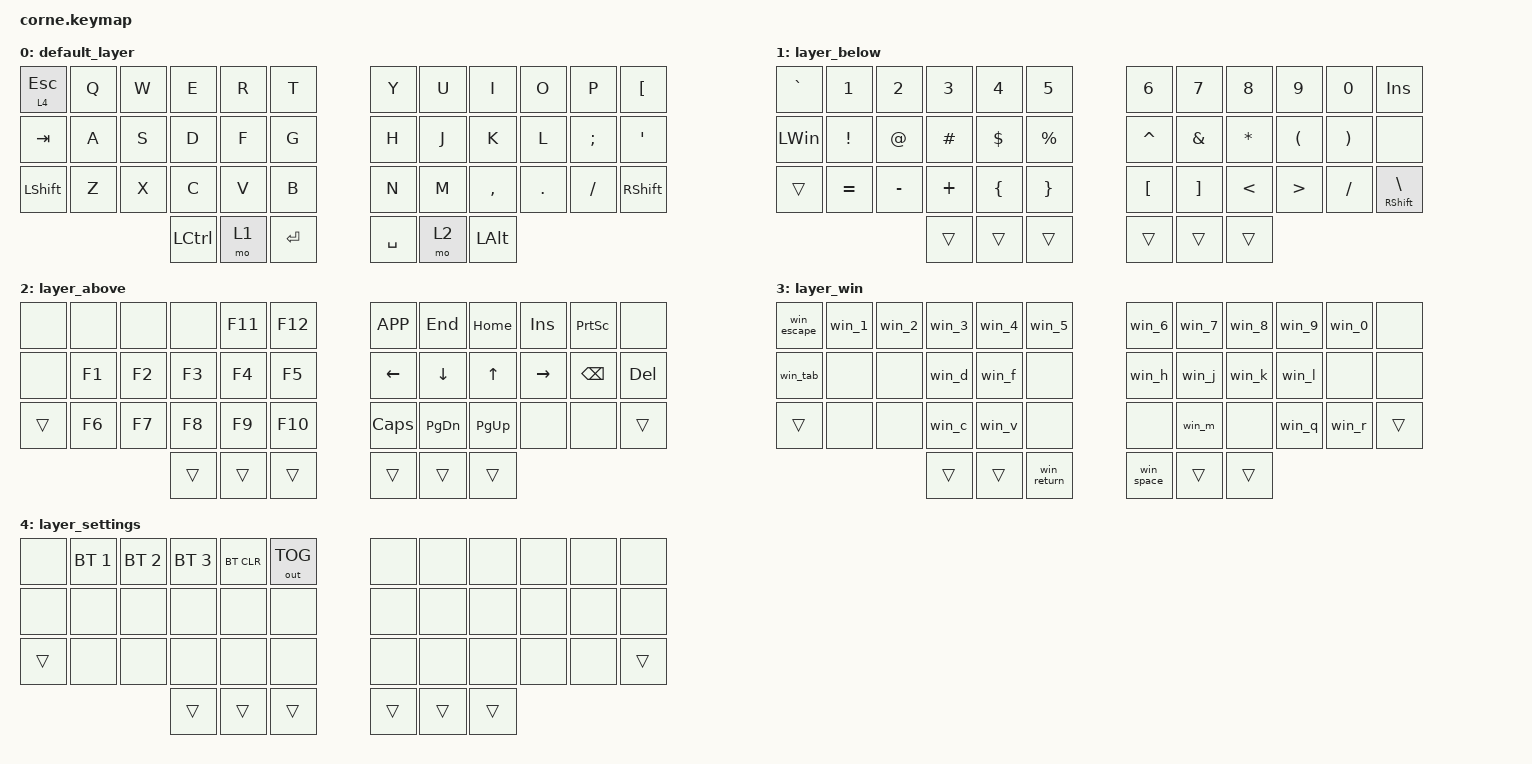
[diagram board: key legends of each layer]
/*
 * Copyright (c) 2020 The ZMK Contributors
 *
 * SPDX-License-Identifier: MIT
 */

#include <behaviors.dtsi>
#include <dt-bindings/zmk/bt.h>
#include <dt-bindings/zmk/keys.h>
#include <dt-bindings/zmk/outputs.h>

/ {
    macros {
        win_1: win_1 {
            label = "win_1";
            compatible = "zmk,behavior-macro";
            #binding-cells = <0>;
            wait-ms = <40>;
            tap-ms = <40>;
            bindings =
                <&macro_press>,
                <&kp LEFT_WIN>,
                <&macro_tap>,
                <&kp N1>,
                <&macro_release>,
                <&kp LEFT_WIN>;
        };

        win_2: win_2 {
            label = "win_2";
            compatible = "zmk,behavior-macro";
            #binding-cells = <0>;
            wait-ms = <40>;
            tap-ms = <40>;
            bindings =
                <&macro_press>,
                <&kp LEFT_WIN>,
                <&macro_tap>,
                <&kp N2>,
                <&macro_release>,
                <&kp LEFT_WIN>;
        };

        win_3: win_3 {
            label = "win_3";
            compatible = "zmk,behavior-macro";
            #binding-cells = <0>;
            wait-ms = <40>;
            tap-ms = <40>;
            bindings =
                <&macro_press>,
                <&kp LEFT_WIN>,
                <&macro_tap>,
                <&kp N3>,
                <&macro_release>,
                <&kp LEFT_WIN>;
        };

        win_4: win_4 {
            label = "win_4";
            compatible = "zmk,behavior-macro";
            #binding-cells = <0>;
            wait-ms = <40>;
            tap-ms = <40>;
            bindings =
                <&macro_press>,
                <&kp LEFT_WIN>,
                <&macro_tap>,
                <&kp N4>,
                <&macro_release>,
                <&kp LEFT_WIN>;
        };

        win_5: win_5 {
            label = "win_5";
            compatible = "zmk,behavior-macro";
            #binding-cells = <0>;
            wait-ms = <40>;
            tap-ms = <40>;
            bindings =
                <&macro_press>,
                <&kp LEFT_WIN>,
                <&macro_tap>,
                <&kp N5>,
                <&macro_release>,
                <&kp LEFT_WIN>;
        };

        win_6: win_6 {
            label = "win_6";
            compatible = "zmk,behavior-macro";
            #binding-cells = <0>;
            wait-ms = <40>;
            tap-ms = <40>;
            bindings =
                <&macro_press>,
                <&kp LEFT_WIN>,
                <&macro_tap>,
                <&kp N6>,
                <&macro_release>,
                <&kp LEFT_WIN>;
        };

        win_7: win_7 {
            label = "win_7";
            compatible = "zmk,behavior-macro";
            #binding-cells = <0>;
            wait-ms = <40>;
            tap-ms = <40>;
            bindings =
                <&macro_press>,
                <&kp LEFT_WIN>,
                <&macro_tap>,
                <&kp N7>,
                <&macro_release>,
                <&kp LEFT_WIN>;
        };

        win_8: win_8 {
            label = "win_8";
            compatible = "zmk,behavior-macro";
            #binding-cells = <0>;
            wait-ms = <40>;
            tap-ms = <40>;
            bindings =
                <&macro_press>,
                <&kp LEFT_WIN>,
                <&macro_tap>,
                <&kp N8>,
                <&macro_release>,
                <&kp LEFT_WIN>;
        };

        win_9: win_9 {
            label = "win_9";
            compatible = "zmk,behavior-macro";
            #binding-cells = <0>;
            wait-ms = <40>;
            tap-ms = <40>;
            bindings =
                <&macro_press>,
                <&kp LEFT_WIN>,
                <&macro_tap>,
                <&kp N9>,
                <&macro_release>,
                <&kp LEFT_WIN>;
        };

        win_0: win_0 {
            label = "win_0";
            compatible = "zmk,behavior-macro";
            #binding-cells = <0>;
            wait-ms = <40>;
            tap-ms = <40>;
            bindings =
                <&macro_press>,
                <&kp LEFT_WIN>,
                <&macro_tap>,
                <&kp N0>,
                <&macro_release>,
                <&kp LEFT_WIN>;
        };

        // i3 window management macros

        win_h: win_h {
            label = "win_h";
            compatible = "zmk,behavior-macro";
            #binding-cells = <0>;
            wait-ms = <40>;
            tap-ms = <40>;
            bindings =
                <&macro_press>,
                <&kp LEFT_WIN>,
                <&macro_tap>,
                <&kp H>,
                <&macro_release>,
                <&kp LEFT_WIN>;
        };

        win_j: win_j {
            label = "win_j";
            compatible = "zmk,behavior-macro";
            #binding-cells = <0>;
            wait-ms = <40>;
            tap-ms = <40>;
            bindings =
                <&macro_press>,
                <&kp LEFT_WIN>,
                <&macro_tap>,
                <&kp J>,
                <&macro_release>,
                <&kp LEFT_WIN>;
        };

        win_k: win_k {
            label = "win_k";
            compatible = "zmk,behavior-macro";
            #binding-cells = <0>;
            wait-ms = <40>;
            tap-ms = <40>;
            bindings =
                <&macro_press>,
                <&kp LEFT_WIN>,
                <&macro_tap>,
                <&kp K>,
                <&macro_release>,
                <&kp LEFT_WIN>;
        };

        win_l: win_l {
            label = "win_l";
            compatible = "zmk,behavior-macro";
            #binding-cells = <0>;
            wait-ms = <40>;
            tap-ms = <40>;
            bindings =
                <&macro_press>,
                <&kp LEFT_WIN>,
                <&macro_tap>,
                <&kp L>,
                <&macro_release>,
                <&kp LEFT_WIN>;
        };

        win_shift_h: win_shift_h {
            label = "win_shift_h";
            compatible = "zmk,behavior-macro";
            #binding-cells = <0>;
            wait-ms = <40>;
            tap-ms = <40>;
            bindings =
                <&macro_press>,
                <&kp LEFT_WIN &kp LSHFT>,
                <&macro_tap>,
                <&kp H>,
                <&macro_release>,
                <&kp LSHFT &kp LEFT_WIN>;
        };

        win_shift_j: win_shift_j {
            label = "win_shift_j";
            compatible = "zmk,behavior-macro";
            #binding-cells = <0>;
            wait-ms = <40>;
            tap-ms = <40>;
            bindings =
                <&macro_press>,
                <&kp LEFT_WIN &kp LSHFT>,
                <&macro_tap>,
                <&kp J>,
                <&macro_release>,
                <&kp LSHFT &kp LEFT_WIN>;
        };

        win_shift_k: win_shift_k {
            label = "win_shift_k";
            compatible = "zmk,behavior-macro";
            #binding-cells = <0>;
            wait-ms = <40>;
            tap-ms = <40>;
            bindings =
                <&macro_press>,
                <&kp LEFT_WIN &kp LSHFT>,
                <&macro_tap>,
                <&kp K>,
                <&macro_release>,
                <&kp LSHFT &kp LEFT_WIN>;
        };

        win_shift_l: win_shift_l {
            label = "win_shift_l";
            compatible = "zmk,behavior-macro";
            #binding-cells = <0>;
            wait-ms = <40>;
            tap-ms = <40>;
            bindings =
                <&macro_press>,
                <&kp LEFT_WIN &kp LSHFT>,
                <&macro_tap>,
                <&kp L>,
                <&macro_release>,
                <&kp LSHFT &kp LEFT_WIN>;
        };

        win_q: win_q {
            label = "win_q";
            compatible = "zmk,behavior-macro";
            #binding-cells = <0>;
            wait-ms = <40>;
            tap-ms = <40>;
            bindings =
                <&macro_press>,
                <&kp LEFT_WIN>,
                <&macro_tap>,
                <&kp Q>,
                <&macro_release>,
                <&kp LEFT_WIN>;
        };

        win_f: win_f {
            label = "win_f";
            compatible = "zmk,behavior-macro";
            #binding-cells = <0>;
            wait-ms = <40>;
            tap-ms = <40>;
            bindings =
                <&macro_press>,
                <&kp LEFT_WIN>,
                <&macro_tap>,
                <&kp F>,
                <&macro_release>,
                <&kp LEFT_WIN>;
        };

        win_c: win_c {
            label = "win_c";
            compatible = "zmk,behavior-macro";
            #binding-cells = <0>;
            wait-ms = <40>;
            tap-ms = <40>;
            bindings =
                <&macro_press>,
                <&kp LEFT_WIN>,
                <&macro_tap>,
                <&kp C>,
                <&macro_release>,
                <&kp LEFT_WIN>;
        };

        win_v: win_v {
            label = "win_v";
            compatible = "zmk,behavior-macro";
            #binding-cells = <0>;
            wait-ms = <40>;
            tap-ms = <40>;
            bindings =
                <&macro_press>,
                <&kp LEFT_WIN>,
                <&macro_tap>,
                <&kp V>,
                <&macro_release>,
                <&kp LEFT_WIN>;
        };

        win_s: win_s {
            label = "win_s";
            compatible = "zmk,behavior-macro";
            #binding-cells = <0>;
            wait-ms = <40>;
            tap-ms = <40>;
            bindings =
                <&macro_press>,
                <&kp LEFT_WIN>,
                <&macro_tap>,
                <&kp S>,
                <&macro_release>,
                <&kp LEFT_WIN>;
        };

        win_w: win_w {
            label = "win_w";
            compatible = "zmk,behavior-macro";
            #binding-cells = <0>;
            wait-ms = <40>;
            tap-ms = <40>;
            bindings =
                <&macro_press>,
                <&kp LEFT_WIN>,
                <&macro_tap>,
                <&kp W>,
                <&macro_release>,
                <&kp LEFT_WIN>;
        };

        win_e: win_e {
            label = "win_e";
            compatible = "zmk,behavior-macro";
            #binding-cells = <0>;
            wait-ms = <40>;
            tap-ms = <40>;
            bindings =
                <&macro_press>,
                <&kp LEFT_WIN>,
                <&macro_tap>,
                <&kp E>,
                <&macro_release>,
                <&kp LEFT_WIN>;
        };

        win_r: win_r {
            label = "win_r";
            compatible = "zmk,behavior-macro";
            #binding-cells = <0>;
            wait-ms = <40>;
            tap-ms = <40>;
            bindings =
                <&macro_press>,
                <&kp LEFT_WIN>,
                <&macro_tap>,
                <&kp R>,
                <&macro_release>,
                <&kp LEFT_WIN>;
        };

        win_m: win_m {
            label = "win_m";
            compatible = "zmk,behavior-macro";
            #binding-cells = <0>;
            wait-ms = <40>;
            tap-ms = <40>;
            bindings =
                <&macro_press>,
                <&kp LEFT_WIN>,
                <&macro_tap>,
                <&kp M>,
                <&macro_release>,
                <&kp LEFT_WIN>;
        };

        win_d: win_d {
            label = "win_d";
            compatible = "zmk,behavior-macro";
            #binding-cells = <0>;
            wait-ms = <40>;
            tap-ms = <40>;
            bindings =
                <&macro_press>,
                <&kp LEFT_WIN>,
                <&macro_tap>,
                <&kp D>,
                <&macro_release>,
                <&kp LEFT_WIN>;
        };

        win_shift_c: win_shift_c {
            label = "win_shift_c";
            compatible = "zmk,behavior-macro";
            #binding-cells = <0>;
            wait-ms = <40>;
            tap-ms = <40>;
            bindings =
                <&macro_press>,
                <&kp LEFT_WIN &kp LSHFT>,
                <&macro_tap>,
                <&kp C>,
                <&macro_release>,
                <&kp LSHFT &kp LEFT_WIN>;
        };

        win_shift_r: win_shift_r {
            label = "win_shift_r";
            compatible = "zmk,behavior-macro";
            #binding-cells = <0>;
            wait-ms = <40>;
            tap-ms = <40>;
            bindings =
                <&macro_press>,
                <&kp LEFT_WIN &kp LSHFT>,
                <&macro_tap>,
                <&kp R>,
                <&macro_release>,
                <&kp LSHFT &kp LEFT_WIN>;
        };

        win_shift_e: win_shift_e {
            label = "win_shift_e";
            compatible = "zmk,behavior-macro";
            #binding-cells = <0>;
            wait-ms = <40>;
            tap-ms = <40>;
            bindings =
                <&macro_press>,
                <&kp LEFT_WIN &kp LSHFT>,
                <&macro_tap>,
                <&kp E>,
                <&macro_release>,
                <&kp LSHFT &kp LEFT_WIN>;
        };

        win_escape: win_escape {
            label = "win_escape";
            compatible = "zmk,behavior-macro";
            #binding-cells = <0>;
            wait-ms = <40>;
            tap-ms = <40>;
            bindings =
                <&macro_press>,
                <&kp LEFT_WIN>,
                <&macro_tap>,
                <&kp ESCAPE>,
                <&macro_release>,
                <&kp LEFT_WIN>;
        };

        win_a: win_a {
            label = "win_a";
            compatible = "zmk,behavior-macro";
            #binding-cells = <0>;
            wait-ms = <40>;
            tap-ms = <40>;
            bindings =
                <&macro_press>,
                <&kp LEFT_WIN>,
                <&macro_tap>,
                <&kp A>,
                <&macro_release>,
                <&kp LEFT_WIN>;
        };

        win_return: win_return {
            label = "win_return";
            compatible = "zmk,behavior-macro";
            #binding-cells = <0>;
            wait-ms = <40>;
            tap-ms = <40>;
            bindings =
                <&macro_press>,
                <&kp LEFT_WIN>,
                <&macro_tap>,
                <&kp RET>,
                <&macro_release>,
                <&kp LEFT_WIN>;
        };

        win_space: win_space {
            label = "win_space";
            compatible = "zmk,behavior-macro";
            #binding-cells = <0>;
            wait-ms = <40>;
            tap-ms = <40>;
            bindings =
                <&macro_press>,
                <&kp LEFT_WIN>,
                <&macro_tap>,
                <&kp SPACE>,
                <&macro_release>,
                <&kp LEFT_WIN>;
        };

        win_tab: win_tab {
            label = "win_tab";
            compatible = "zmk,behavior-macro";
            #binding-cells = <0>;
            wait-ms = <40>;
            tap-ms = <40>;
            bindings =
                <&macro_press>,
                <&kp LEFT_WIN>,
                <&macro_tap>,
                <&kp TAB>,
                <&macro_release>,
                <&kp LEFT_WIN>;
        };
    };

    behaviors {
        mt { tapping-term-ms = <250>; };
    };

    keymap {
        compatible = "zmk,keymap";

        default_layer {
            // -----------------------------------------------------------------------------------------
            // | ESC  |  Q  |  W  |  E   |  R  |  T  |   |  Y  |  U   |  I  |  O  |  P  |  [  |
            // | TAB  |  A  |  S  |  D   |  F  |  G  |   |  H  |  J   |  K  |  L  |  ;  | '  |
            // | SHFT |  Z  |  X  |  C   |  V  |  B  |   |  N  |  M   |  ,  |  .  |  /  | SHFT|
            //                    | CTRL | LWR | RET |   | SPC | RSE  | ALT |

            bindings = <
&lt 4 ESC  &kp Q  &kp W  &kp E      &kp R  &kp T      &kp Y      &kp U  &kp I         &kp O    &kp P     &kp LBKT
&kp TAB    &kp A  &kp S  &kp D      &kp F  &kp G      &kp H      &kp J  &kp K         &kp L    &kp SEMI  &kp APOSTROPHE
&kp LSHFT  &kp Z  &kp X  &kp C      &kp V  &kp B      &kp N      &kp M  &kp COMMA     &kp DOT  &kp FSLH  &kp RSHFT
                         &kp LCTRL  &mo 1  &kp RET    &kp SPACE  &mo 2  &kp LEFT_ALT
            >;
        };

        layer_below {
            // -----------------------------------------------------------------------------------------
            // | ~    |  1  |  2  |  3  |  4  |  5  |   |  6  |  7  |  8  |  9  |  0  |     |
            // |      |  !  |  @  |  #  |  $  |  %  |   |  ^  |  &  |  *  |  (  |  )  |     |
            // |      |  =  |  -  |  +  |  {  |  }  |   |  [  |  ]  |  <  |  >  |  /  |  |  |
            //                    |     |     |     |   |     |     |     |

            bindings = <
&kp GRAVE     &kp N1           &kp N2       &kp N3    &kp N4          &kp N5             &kp N6            &kp N7             &kp N8         &kp N9                &kp N0                 &kp INSERT
&kp LEFT_WIN  &kp EXCLAMATION  &kp AT_SIGN  &kp HASH  &kp DOLLAR      &kp PERCENT        &kp CARET         &kp AMPERSAND      &kp ASTERISK   &kp LEFT_PARENTHESIS  &kp RIGHT_PARENTHESIS  &none
&trans        &kp EQUAL        &kp MINUS    &kp PLUS  &kp LEFT_BRACE  &kp RIGHT_BRACE    &kp LEFT_BRACKET  &kp RIGHT_BRACKET  &kp LESS_THAN  &kp GREATER_THAN      &kp SLASH              &mt RIGHT_SHIFT BACKSLASH
                                            &trans    &trans          &trans             &trans            &trans             &trans
            >;
        };

        layer_above {
            // -----------------------------------------------------------------------------------------
            // |      |     |     |     | F11 | F12 |   | APP | END | HOME | INS | PRSC |     |
            // |      | F1  | F2  | F3  | F4  | F5  |   | LFT | DWN | UP   | RGT | BKSP | DEL |
            // |      | F6  | F7  | F8  | F9  | F10 |   | CAP | PGDN| PGUP |     |      |     |
            //                    |     |     |     |   |     |     |     |

            bindings = <
&none   &none   &none   &none   &kp F11  &kp F12    &kp K_APP       &kp END        &kp HOME      &kp INSERT       &kp PRINTSCREEN  &none
&none   &kp F1  &kp F2  &kp F3  &kp F4   &kp F5     &kp LEFT_ARROW  &kp DOWN       &kp UP_ARROW  &kp RIGHT_ARROW  &kp BACKSPACE    &kp DELETE
&trans  &kp F6  &kp F7  &kp F8  &kp F9   &kp F10    &kp CAPS        &kp PAGE_DOWN  &kp PAGE_UP   &none            &none            &trans
                        &trans  &trans   &trans     &trans          &trans         &trans
            >;
        };

        layer_win {
            // -----------------------------------------------------------------------------------------
            // |WESC  | W+1 | W+2 | W+3 | W+4 | W+5 |   | W+6 | W+7 | W+8 | W+9 | W+0 |     |
            // |WTAB  |     |     | W+D | W+F |     |   | W+H | W+J | W+K | W+L |     |     |
            // |      |     |     | W+C | W+V |     |   |     | W+M |     | W+Q | W+R |     |
            //                    |     |     |WRET |   |WSPC |     |     |

            bindings = <
&win_escape  &win_1  &win_2  &win_3  &win_4  &win_5         &win_6      &win_7  &win_8  &win_9  &win_0  &none
&win_tab     &none   &none   &win_d  &win_f  &none          &win_h      &win_j  &win_k  &win_l  &none   &none
&trans       &none   &none   &win_c  &win_v  &none          &none       &win_m  &none   &win_q  &win_r  &trans
                             &trans  &trans  &win_return    &win_space  &trans  &trans
            >;
        };

        layer_settings {
            // -----------------------------------------------------------------------------------------
            // |      | BT1 | BT2 | BT3 | CLR | TOG |   |     |     |     |     |     |     |
            // |      |     |     |     |     |     |   |     |     |     |     |     |     |
            // |      |     |     |     |     |     |   |     |     |     |     |     |     |
            //                    |     |     |     |   |     |     |     |

            bindings = <
&none   &bt BT_SEL 1  &bt BT_SEL 2  &bt BT_SEL 3  &bt BT_CLR  &out OUT_TOG    &none   &none   &none   &none  &none  &none
&none   &none         &none         &none         &none       &none           &none   &none   &none   &none  &none  &none
&trans  &none         &none         &none         &none       &none           &none   &none   &none   &none  &none  &trans
                                    &trans        &trans      &trans          &trans  &trans  &trans
            >;
        };
    };

    conditional_layers {
        compatible = "zmk,conditional-layers";

        two_fingers {
            if-layers = <1 2>;
            then-layer = <3>;
        };
    };
};
